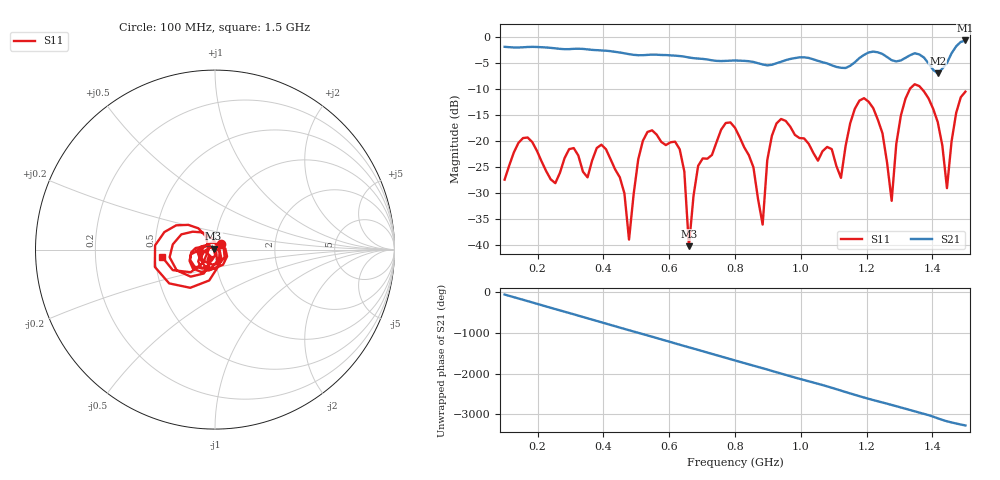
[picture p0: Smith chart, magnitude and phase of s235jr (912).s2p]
! NanoVNA-App
! Date: 2025-09-25 15:11:16
! Start: 100MHz Stop: 1,5GHz Points: 101
! S-Parameter data: F S11 S21 S12 S22
# Hz S RI R 50
!  Frequency  S11_Real  S11_Imag  S21_Real  S21_Imag  S12_Real  S12_Imag  S22_Real  S22_Imag
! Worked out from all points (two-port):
!   101 points, 100 MHz to 1.5 GHz, reference 50 ohm
!   highest |S21| = -0.74 dB at 1.5 GHz (marker M1); lowest = -7.1 dB at 1.416 GHz (marker M2)
!   |S21| within 3 dB of the highest: start of sweep to 633.1 MHz; 1.187 GHz to 1.258 GHz (70.9 MHz wide, 5.8 % of centre) (the widest 2 of 4)
!   lowest |S11| = -40.2 dB at 660 MHz (marker M3), VSWR 1.02, Z = 49.2 + j0.546 ohm
!   |S11| at or under -10 dB: start of sweep to 1.332 GHz; 1.367 GHz to end of sweep
!   S12 and S22 are empty: the file has one direction only
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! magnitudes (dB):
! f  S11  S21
! 100 MHz  -27.5  -2.0
! 170 MHz  -19.4  -2.0
! 338 MHz  -25.9  -2.4
! 408 MHz  -21.6  -2.7
! 478 MHz  -39.0  -3.4
! 520 MHz  -20.0  -3.6
! 576 MHz  -20.2  -3.5
! 632 MHz  -21.6  -3.7
! 660 MHz  -40.2  -4.0
! 688 MHz  -24.8  -4.2
! 800 MHz  -17.5  -4.6
! 884 MHz  -36.1  -5.3
! 926 MHz  -16.7  -5.1
! 1.038 GHz  -22.3  -4.4
! 1.122 GHz  -27.1  -6.0
! 1.192 GHz  -11.8  -3.5
! 1.248 GHz  -18.5  -3.3
! 1.276 GHz  -31.5  -4.5
! 1.332 GHz  -10.0  -3.6
! 1.416 GHz  -16.4  -7.1
! 1.444 GHz  -29.1  -5.1
! 1.5 GHz  -10.6  -0.7
